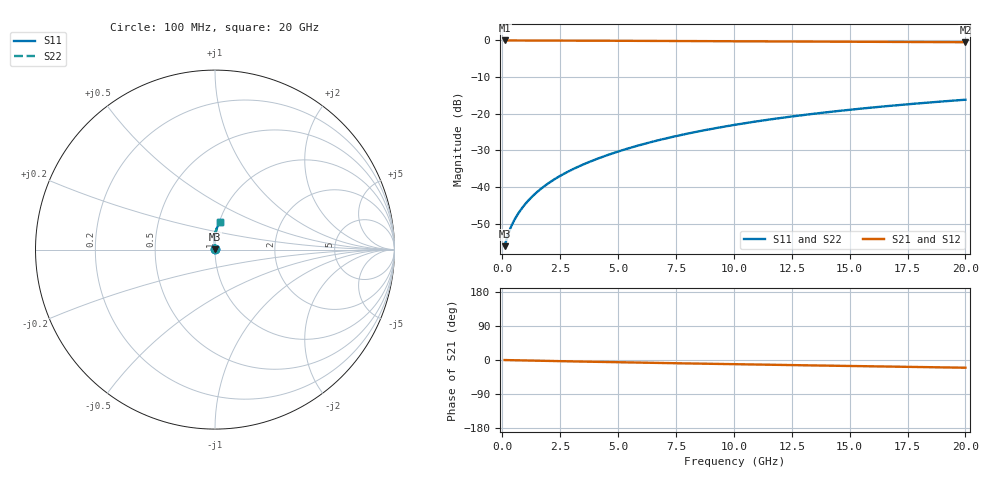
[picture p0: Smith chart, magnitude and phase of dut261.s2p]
! Touchstone file exported from HFSS 2024.1.0
!  File:  C:/UserFiles/LocalFiles/RDL_TSV_Batchsim/temp_RDL_top_261_1778689307.aedt
!  Generated:  12:23:50 AM May 14, 2026
!  Design:  RDL_top
!  Project:  temp_RDL_top_261_1778689307
!  Setup:  Setup1
!  Solution:  Sweep
! Variables:
!  dtsv = 10.80580581um
!  hbump = 3um
!  htsv = 66.86um
!  ldown = 100um
!  lrdl = 321.64um
!  p = 40
!  p1 = 40.2um
!  rhole = 1um
!  t = 450um
!  tdown = 3.915915916um
!  trdl = 3.82um
!  wdown = 15.38538539um
!  wrdl = 25.75um
# GHz S MA R 50.000000
! Terminal data exported
! Port[1] = Box2_T1
! Port[2] = Box2_T2
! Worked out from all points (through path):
!   200 points, 100 MHz to 20 GHz, reference 50 ohm
!   highest |S21| = -0.01 dB at 100 MHz (marker M1); lowest = -0.5 dB at 20 GHz (marker M2)
!   group delay of S21, straight-line fit = 2.79 ps
!   lowest |S11| = -56.1 dB at 100 MHz (marker M3), VSWR 1.00, Z = 50.1 + j0.0716 ohm
!   |S11| at or under -10 dB: start of sweep to end of sweep
!   |S22| runs from -56.1 to -16.2 dB; largest |S21 - S12| = 2e-15
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0.1  0.001564 27.1  0.9986 -0.1  0.9986 -0.1  0.001564 27.1
! Gamma 0 0 0 0
! Port Impedance 50 0 50 0
0.2  0.002022 42.2  0.9985 -0.3  0.9985 -0.3  0.002022 42.2
0.3  0.002509 50.5  0.9983 -0.4  0.9983 -0.4  0.002509 50.5
0.4  0.002986 56.1  0.9982 -0.5  0.9982 -0.5  0.002986 56.1
0.5  0.003458 60.4  0.9981 -0.6  0.9981 -0.6  0.003458 60.4
0.8  0.004908 69.5  0.9978 -1.0  0.9978 -1.0  0.004908 69.5
1  0.005916 73.5  0.9977 -1.2  0.9977 -1.2  0.005916 73.5
1.2  0.006953 76.6  0.9974 -1.5  0.9974 -1.5  0.006954 76.6
1.7  0.00965 81.9  0.9968 -2.1  0.9968 -2.1  0.00965 81.9
2.2  0.01247 85.3  0.9959 -2.7  0.9959 -2.7  0.01247 85.3
2.8  0.01602 88.1  0.9947 -3.4  0.9947 -3.4  0.01602 88.1
3.5  0.02037 90.3  0.9929 -4.2  0.9929 -4.2  0.02037 90.3
4.2  0.02497 91.8  0.9909 -5.0  0.9909 -5.0  0.02497 91.8
5  0.03052 92.9  0.9885 -5.9  0.9885 -5.9  0.03052 92.9
5.9  0.0371 93.5  0.9855 -6.9  0.9855 -6.9  0.0371 93.5
6.8  0.044 93.6  0.9825 -7.8  0.9825 -7.8  0.04399 93.6
8.4  0.05687 93.0  0.9772 -9.5  0.9772 -9.5  0.05686 93.0
10.1  0.07113 91.6  0.9717 -11.1  0.9717 -11.1  0.07112 91.6
11.7  0.08483 90.0  0.9669 -12.7  0.9669 -12.7  0.08482 90.0
13.4  0.09949 88.0  0.962 -14.3  0.962 -14.3  0.09948 88.0
16.7  0.1278 84.0  0.9532 -17.4  0.9532 -17.4  0.1278 84.0
20  0.1554 80.0  0.945 -20.4  0.945 -20.4  0.1553 80.0
